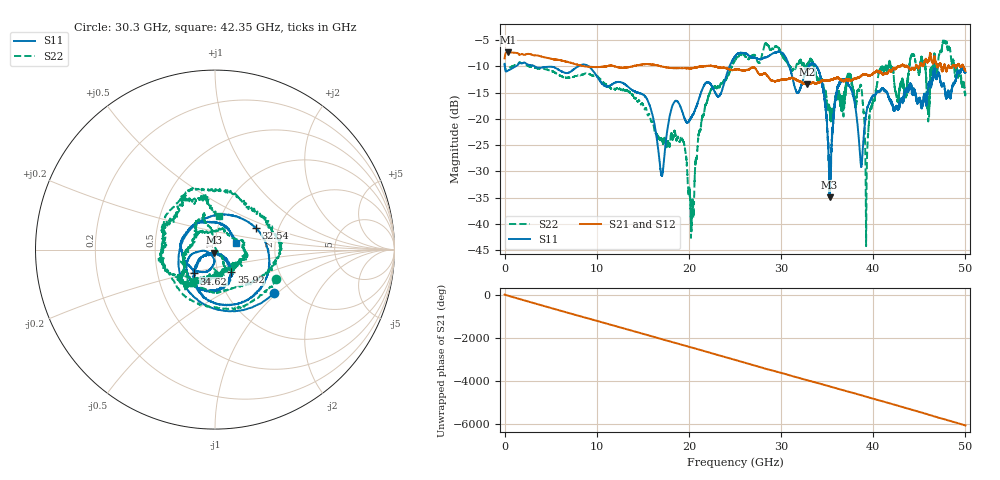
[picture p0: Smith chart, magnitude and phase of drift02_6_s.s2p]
!Created with skrf (http://scikit-rf.org).
# Hz S RI R 50.0
!freq ReS11 ImS11 ReS21 ImS21 ReS12 ImS12 ReS22 ImS22
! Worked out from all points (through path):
!   10001 points, 300 kHz to 50 GHz, reference 50 ohm
!   highest |S21| = -7.32 dB at 375.3 MHz (marker M1); lowest = -13.4 dB at 32.8 GHz (marker M2)
!   group delay of S21, straight-line fit = 335 ps
!   lowest |S11| = -34.9 dB at 35.26 GHz (marker M3), VSWR 1.04, Z = 49.4 - j1.68 ohm
!   |S11| at or under -10 dB: 3.233 GHz to 8.007 GHz (4.774 GHz wide, 84.9 % of centre); 9.104 GHz to 24.41 GHz (15.31 GHz wide, 91.4 % of centre); 33.83 GHz to end of sweep (the widest 3 of 8)
!   |S22| runs from -44.2 to -5.1 dB; largest |S21 - S12| = 0.014
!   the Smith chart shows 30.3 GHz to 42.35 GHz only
!   S11 on the Smith chart (normalised r, x): 30.3 GHz: 1.64, -0.95; 32.54 GHz: 1.53, +0.39; 34.62 GHz: 0.77, -0.21; 35.92 GHz: 1.16, -0.30; 42.35 GHz: 1.26, +0.09
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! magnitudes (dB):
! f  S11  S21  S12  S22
! 300 kHz  -9.5  -8.5  -8.5  -9.5
! 375.3 MHz  -10.8  -7.3  -7.3  -10.5
! 8.335 GHz  -9.7  -9.9  -9.9  -11.6
! 16.67 GHz  -25.9  -9.9  -9.9  -23.4
! 19.32 GHz  -18.8  -10.4  -10.4  -24.1
! 20.34 GHz  -19.5  -10.4  -10.4  -36.9
! 21.94 GHz  -13.1  -10.0  -10.0  -16.9
! 25 GHz  -8.1  -10.7  -10.7  -8.9
! 30.3 GHz  -7.8  -12.5  -12.7  -8.4
! 32.54 GHz  -11.8  -13.3  -13.3  -10.0
! 32.8 GHz  -10.7  -13.4  -13.4  -9.8
! 33.34 GHz  -9.4  -13.1  -13.2  -9.0
! 34.62 GHz  -15.0  -12.8  -12.8  -13.9
! 35.26 GHz  -34.9  -12.6  -12.6  -18.7
! 35.92 GHz  -16.2  -12.3  -12.3  -15.7
! 37.51 GHz  -14.0  -12.6  -12.6  -11.6
! 38.58 GHz  -27.0  -12.0  -12.0  -13.8
! 39.3 GHz  -18.3  -11.6  -11.7  -29.5
! 41.67 GHz  -15.8  -11.0  -11.1  -9.6
! 42.35 GHz  -18.2  -10.5  -10.5  -14.4
! 47.75 GHz  -14.2  -9.6  -9.6  -5.5
! 50 GHz  -11.2  -10.9  -10.8  -15.0
